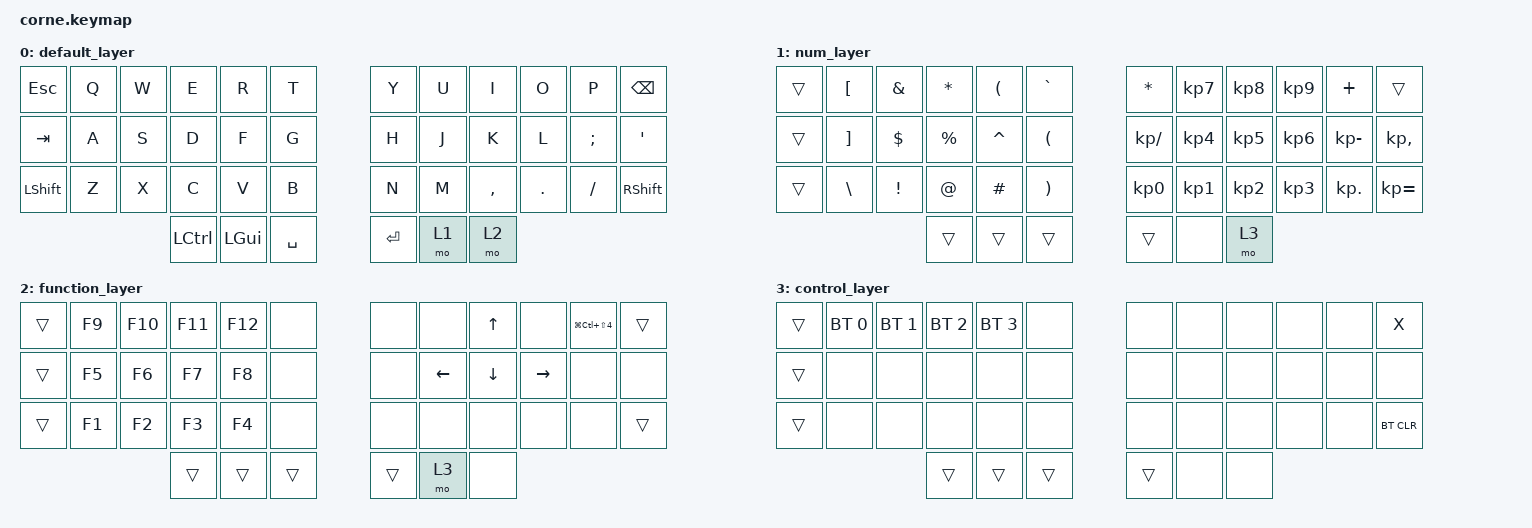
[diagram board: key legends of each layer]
/*
 * Copyright (c) 2020 The ZMK Contributors
 *
 * SPDX-License-Identifier: MIT
 */

#include <behaviors.dtsi>
#include <dt-bindings/zmk/keys.h>
#include <dt-bindings/zmk/bt.h>

/ {
        keymap {
                compatible = "zmk,keymap";
                #define DEFAULT 0
                #define NUM 1
                #define FUNCT 2
                #define CONTROLS 3
                

                default_layer {
// -----------------------------------------------------------------------------------------
// | ESC |  Q  |  W  |  E  |  R  |  T  |   |  Y  |  U   |  I  |  O  |  P  | BKSP |
// | TAB |  A  |  S  |  D  |  F  |  G  |   |  H  |  J   |  K  |  L  |  ;  |  '   |
// | SHFT |  Z  |  X  |  C  |  V  |  B  |   |  N  |  M   |  ,  |  .  |  /  | RSHFT  |
//                    | CTRL | GUI | SPC |   | ENT | RSE  | LWR |
                        bindings = <
   &kp ESC   &kp Q &kp W &kp E &kp R &kp T   &kp Y &kp U  &kp I     &kp O   &kp P    &kp BSPC
   &kp TAB &kp A &kp S &kp D &kp F &kp G   &kp H &kp J  &kp K     &kp L   &kp SEMI &kp SQT
   &kp LSHFT &kp Z &kp X &kp C &kp V &kp B   &kp N &kp M  &kp COMMA &kp DOT &kp FSLH &kp RSHFT
                  &kp LCTRL &kp LGUI &kp SPACE   &kp RET &mo 1 &mo 2
                        >;
                };
                num_layer {
// -----------------------------------------------------------------------------------------
// |  TRANS |  {  |  &  |  *  |  (  |  ~  |   |  *  |  7  |  8  |  9  | +  | TRANS |
// | TRANS| } | $ | % | ^ | ( |   | / | 4 |  5 | 6 |  -  |   ,  |
// | TRANS |  \  |  !  |  @  |  #  |   )  |   |  0  |  1  |  2  |  3  |  .  |  =  |
//                    | trans | trans | trans |   | trans | Function | default |
                        bindings = <
   &trans    &kp LBKT       &kp AMPS       &kp STAR       &kp LPAR       &kp GRAVE         &kp STAR   &kp KP_N7   &kp KP_N8 &kp KP_N9 &kp PLUS &trans
   &trans &kp RBKT  &kp DLLR &kp PRCNT &kp CARET &kp LPAR   &kp KP_SLASH &kp KP_N4 &kp KP_N5 &kp KP_N6 &kp KP_MINUS &kp KP_COMMA
   &trans   &kp BSLH       &kp EXCL       &kp AT       &kp HASH       &kp RPAR         &kp KP_N0   &kp KP_N1   &kp KP_N2 &kp KP_N3    &kp KP_DOT &kp KP_EQUAL
                          	        &trans     &trans       &trans      &trans  &none   &mo 3
                        >;
                };

                function_layer {
// -----------------------------------------------------------------------------------------
// |TRANS|  F9 | F10 | F11 | F12|None |   |None |None |  UP |None |printsc |TRANS |
// |TRANS|  F5 |  F6 |  F7 | F8 |None |   |None |LEFT |DOWN |RIGHT|None |None |
// |TRANS|  F1 |  F2 |  F3 | F4 |None |   |None |None |None |None |None |TRANS |
//                    |TRANS |TRANS| TRANS |   | TRANS | BLT | DEFAULT |
                        bindings = <
   &trans  &kp F9 &kp F10 &kp F11 &kp F12 &none     &none &none  &kp UP &none &kp LG(LC(LS(4))) &trans
   &trans &kp F5   &kp F6 &kp F7   &kp F8   &none      &none &kp LEFT &kp DOWN &kp RIGHT &none &none
   &trans &kp F1   &kp F2 &kp F3   &kp F4   &none      &none &none  &none  &none &none &trans
                    	     &trans &trans   &trans   &trans   &mo 3    &none
                        >;
                };

                control_layer {
// -----------------------------------------------------------------------------------------
// |None |  BT 0 | BT 1 | BT 2 | BT 3|None |   |None |None | None|None |None |None |
// |None |  None |  None | None | None |None |   |None |None |None |None |None |None |
// |None |  None |  None |  None | None |None |   |None |None |None |None |None |BT CLR |
//                    |TRANS |TRANS| TRANS |   | TRANS | BLT | DEFAULT |
                        bindings = <
   &trans  &bt BT_SEL 0 &bt BT_SEL 1 &bt BT_SEL 2 &bt BT_SEL 3 &none     &none &none  &none &none &none &kp X
   &trans &none &none &none &none   &none      &none &none &none &none &none &none
   &trans &none &none &none &none   &none      &none &none  &none  &none &none &bt BT_CLR
                    	     &trans &trans   &trans   &trans   &none    &none
                        >;
                };
        };
};
